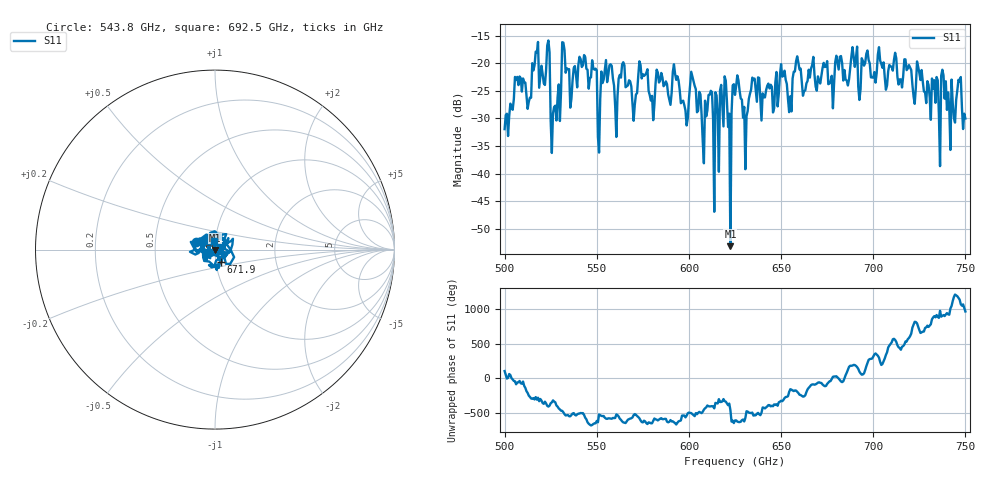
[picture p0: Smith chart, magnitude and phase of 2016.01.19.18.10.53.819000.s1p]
!Created with skrf (http://scikit-rf.org).
# GHz S RI R 50.0
!freq ReS11 ImS11
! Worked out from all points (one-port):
!   401 points, 500 GHz to 750 GHz, reference 50 ohm
!   lowest |S11| = -53.2 dB at 622.5 GHz (marker M1), VSWR 1.00, Z = 50 - j0.219 ohm
!   |S11| at or under -10 dB: start of sweep to end of sweep
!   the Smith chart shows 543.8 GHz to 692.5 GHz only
!   S11 on the Smith chart (normalised r, x): 543.8 GHz: 0.81, +0.07; 671.9 GHz: 1.06, -0.15; 692.5 GHz: 0.98, +0.09
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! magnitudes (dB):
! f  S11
! 500 GHz  -31.9
! 506.9 GHz  -22.5
! 513.1 GHz  -27.0
! 516.9 GHz  -17.9
! 523.1 GHz  -16.8
! 526.9 GHz  -27.9
! 531.2 GHz  -16.2
! 543.8 GHz  -18.9
! 551.9 GHz  -26.5
! 553.8 GHz  -23.0
! 562.5 GHz  -22.1
! 593.8 GHz  -22.4
! 598.1 GHz  -28.6
! 602.5 GHz  -23.2
! 608.1 GHz  -38.1
! 611.2 GHz  -25.7
! 615 GHz  -25.8
! 618.8 GHz  -31.5
! 622.5 GHz  -53.2
! 625 GHz  -25.7
! 630.6 GHz  -39.2
! 634.4 GHz  -22.6
! 656.2 GHz  -22.8
! 671.9 GHz  -22.2
! 687.5 GHz  -20.8
! 692.5 GHz  -26.7
! 718.8 GHz  -21.0
! 750 GHz  -30.0
